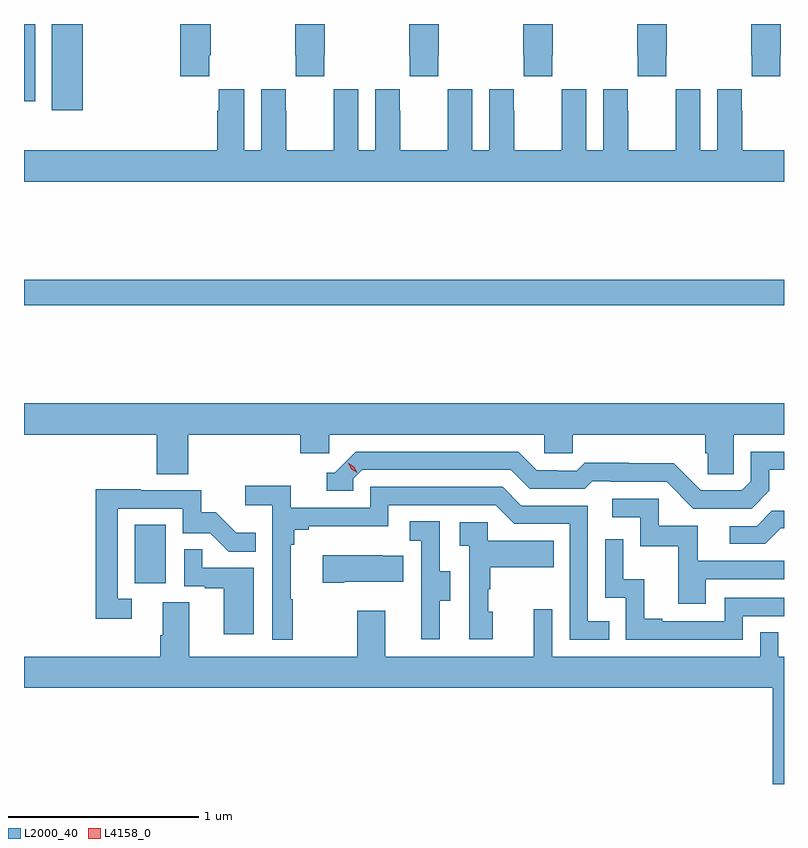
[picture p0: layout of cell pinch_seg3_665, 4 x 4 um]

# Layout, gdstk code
import gdstk
lib = gdstk.Library(unit=1e-6, precision=1e-09)
def R(c, l, rs):  # rectangles x0, y0, x1, y1
    for r in rs: c.add(gdstk.rectangle(r[:2], r[2:], *l))
def P(c, l, *ps):  # polygons
    for p in ps: c.add(gdstk.Polygon(p, *l))
L2000_40 = (2000, 40)
L4158_0 = (4158, 0)

pinch_seg3_665 = lib.new_cell('pinch_seg3_665')
R(pinch_seg3_665, L2000_40, [(1071.968,670.83,1072.132,671.137), (1071.386,672.292,1075.386,672.428), (1071.533,673.32,1071.694,673.773), (1071.386,673.366,1071.444,673.773)])
P(pinch_seg3_665, L2000_40, [(1075.365,673.609),(1075.368,673.609),(1075.368,673.773),(1075.213,673.773),(1075.213,673.609),(1075.215,673.609),(1075.215,673.497),(1075.365,673.497)],
  [(1074.765,673.609),(1074.768,673.609),(1074.768,673.773),(1074.613,673.773),(1074.613,673.609),(1074.615,673.609),(1074.615,673.497),(1074.765,673.497)],
  [(1074.165,673.609),(1074.168,673.609),(1074.168,673.773),(1074.013,673.773),(1074.013,673.609),(1074.015,673.609),(1074.015,673.497),(1074.165,673.497)],
  [(1073.565,673.609),(1073.568,673.609),(1073.568,673.773),(1073.413,673.773),(1073.413,673.609),(1073.415,673.609),(1073.415,673.497),(1073.565,673.497)],
  [(1072.965,673.609),(1072.968,673.609),(1072.968,673.773),(1072.813,673.773),(1072.813,673.609),(1072.815,673.609),(1072.815,673.497),(1072.965,673.497)],
  [(1072.361,673.609),(1072.368,673.609),(1072.368,673.773),(1072.208,673.773),(1072.208,673.497),(1072.361,673.497)],
  [(1075.386,673.108),(1075.165,673.108),(1075.165,673.316),(1075.164,673.316),(1075.164,673.429),(1075.034,673.429),(1075.034,673.108),(1074.946,673.108),(1074.946,673.429),(1074.816,673.429),(1074.816,673.316),(1074.815,673.316),(1074.815,673.108),(1074.565,673.108),(1074.565,673.316),(1074.564,673.316),(1074.564,673.429),(1074.434,673.429),(1074.434,673.108),(1074.346,673.108),(1074.346,673.429),(1074.216,673.429),(1074.216,673.316),(1074.215,673.316),(1074.215,673.108),(1073.965,673.108),(1073.965,673.316),(1073.964,673.316),(1073.964,673.429),(1073.834,673.429),(1073.834,673.108),(1073.746,673.108),(1073.746,673.429),(1073.616,673.429),(1073.616,673.316),(1073.615,673.316),(1073.615,673.108),(1073.365,673.108),(1073.365,673.316),(1073.364,673.316),(1073.364,673.429),(1073.234,673.429),(1073.234,673.108),(1073.146,673.108),(1073.146,673.429),(1073.016,673.429),(1073.016,673.316),(1073.015,673.316),(1073.015,673.108),(1072.765,673.108),(1072.765,673.316),(1072.764,673.316),(1072.764,673.429),(1072.634,673.429),(1072.634,673.108),(1072.546,673.108),(1072.546,673.429),(1072.412,673.429),(1072.412,673.316),(1072.403,673.316),(1072.403,673.108),(1071.386,673.108),(1071.386,672.944),(1075.386,672.944)],
  [(1072.25,671.612),(1072.841,671.612),(1072.841,671.514),(1072.992,671.514),(1072.992,671.612),(1074.123,671.612),(1074.123,671.514),(1074.273,671.514),(1074.273,671.612),(1074.971,671.612),(1074.971,671.514),(1074.985,671.514),(1074.985,671.404),(1075.122,671.404),(1075.122,671.612),(1075.386,671.612),(1075.386,671.776),(1071.386,671.776),(1071.386,671.612),(1072.085,671.612),(1072.085,671.404),(1072.25,671.404)],
  [(1075.309,671.317),(1075.309,671.427),(1075.386,671.427),(1075.386,671.523),(1075.212,671.523),(1075.212,671.367),(1075.164,671.319),(1074.948,671.319),(1074.806,671.461),(1074.57,671.461),(1074.57,671.464),(1074.337,671.464),(1074.295,671.421),(1074.192,671.421),(1074.192,671.424),(1074.085,671.424),(1073.986,671.523),(1073.133,671.523),(1073.022,671.412),(1072.979,671.412),(1072.979,671.316),(1073.118,671.316),(1073.118,671.379),(1073.166,671.427),(1073.949,671.427),(1074.048,671.328),(1074.337,671.328),(1074.376,671.367),(1074.475,671.367),(1074.475,671.364),(1074.768,671.364),(1074.909,671.223),(1075.215,671.223)],
  [(1072.801,670.745),(1072.789,670.745),(1072.789,671.033),(1072.808,671.033),(1072.808,671.11),(1072.885,671.11),(1072.885,671.129),(1073.304,671.129),(1073.304,671.241),(1073.868,671.241),(1073.967,671.142),(1074.258,671.142),(1074.258,670.533),(1074.467,670.533),(1074.467,670.629),(1074.354,670.629),(1074.354,671.238),(1074.004,671.238),(1073.905,671.337),(1073.208,671.337),(1073.208,671.226),(1072.79,671.226),(1072.79,671.342),(1072.551,671.342),(1072.551,671.24),(1072.692,671.24),(1072.692,670.533),(1072.801,670.533)],
  [(1071.952,670.749),(1071.879,670.749),(1071.879,671.223),(1072.221,671.223),(1072.221,671.094),(1072.365,671.094),(1072.463,670.996),(1072.607,670.996),(1072.607,671.095),(1072.503,671.095),(1072.396,671.202),(1072.32,671.202),(1072.32,671.319),(1072.001,671.319),(1072.001,671.324),(1071.763,671.324),(1071.763,670.644),(1071.952,670.644)],
  [(1074.973,670.851),(1075.386,670.851),(1075.386,670.947),(1074.931,670.947),(1074.931,671.133),(1074.726,671.133),(1074.726,671.274),(1074.483,671.274),(1074.483,671.178),(1074.63,671.178),(1074.63,671.025),(1074.829,671.025),(1074.829,670.722),(1074.973,670.722)],
  [(1075.369,671.118),(1075.386,671.118),(1075.386,671.21),(1075.322,671.21),(1075.242,671.13),(1075.101,671.13),(1075.101,671.037),(1075.288,671.037)],
  [(1073.575,670.738),(1073.629,670.738),(1073.629,670.893),(1073.574,670.893),(1073.574,671.156),(1073.415,671.156),(1073.415,671.053),(1073.478,671.053),(1073.478,670.749),(1073.477,670.749),(1073.477,670.536),(1073.575,670.536)],
  [(1073.854,670.68),(1073.829,670.68),(1073.829,670.799),(1073.839,670.799),(1073.839,670.913),(1074.173,670.913),(1074.173,671.053),(1073.826,671.053),(1073.826,671.151),(1073.679,671.151),(1073.679,671.027),(1073.73,671.027),(1073.73,670.536),(1073.854,670.536)],
  [(1075.17,670.656),(1075.386,670.656),(1075.386,670.752),(1075.074,670.752),(1075.074,670.629),(1074.745,670.629),(1074.745,670.642),(1074.65,670.642),(1074.65,670.85),(1074.54,670.85),(1074.54,671.062),(1074.444,671.062),(1074.444,670.752),(1074.552,670.752),(1074.552,670.533),(1075.17,670.533)],
  [(1072.594,670.911),(1072.325,670.911),(1072.325,671.009),(1072.23,671.009),(1072.23,670.815),(1072.337,670.815),(1072.337,670.803),(1072.436,670.803),(1072.436,670.56),(1072.594,670.56)],
  [(1073.071,670.838),(1073.381,670.838),(1073.381,670.975),(1073.273,670.975),(1073.273,670.978),(1072.959,670.978),(1072.959,670.831),(1073.071,670.831)],
  [(1075.386,670.444),(1075.356,670.444),(1075.356,670.571),(1075.26,670.571),(1075.26,670.444),(1074.165,670.444),(1074.165,670.693),(1074.068,670.693),(1074.068,670.444),(1073.287,670.444),(1073.287,670.684),(1073.14,670.684),(1073.14,670.444),(1072.255,670.444),(1072.255,670.73),(1072.115,670.73),(1072.115,670.556),(1072.103,670.556),(1072.103,670.444),(1071.386,670.444),(1071.386,670.28),(1075.328,670.28),(1075.328,669.773),(1075.386,669.773)])
P(pinch_seg3_665, L4158_0, [(1073.14,671.411),(1073.109,671.43),(1073.092,671.463),(1073.092,671.463),(1073.093,671.463),(1073.124,671.444),(1073.14,671.411),(1073.14,671.411)])

lib.write_gds('pinch_seg3_665.gds')
